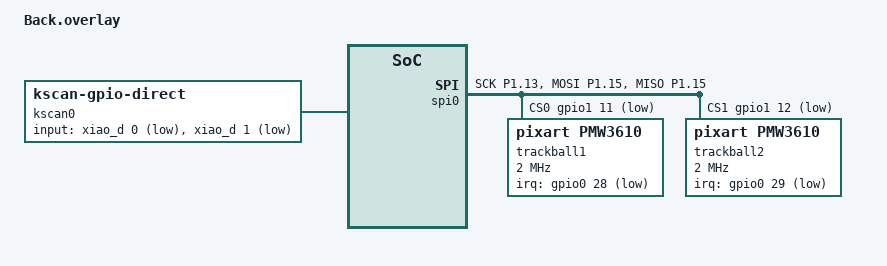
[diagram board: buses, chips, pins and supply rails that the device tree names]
#include <dt-bindings/zmk/matrix_transform.h> // included when matrix transform added
#include <physical_layouts.dtsi> // When using keys property include needed

// chosen node
/ {
    chosen {
        zmk,kscan = &kscan0;
        zmk,physical-layout = &physical_layout0;
    };
};

// physical layouts (key propretyあり)
/ {
    physical_layout0: physical_layout0 {
        compatible = "zmk,physical-layout";
        display-name = "Default Layout";
        transform = <&default_transform>;
        // chose nodeで設定しているからkscanいらない？ kscan = <&kscan0>;
        keys  //                     w   h    x    y     rot    rx    ry
            = <&key_physical_attrs 100 100    0   50       0     0     0>
            , <&key_physical_attrs 100 100  100   50       0     0     0>
            ;
    };
};

//matrix transoform
/ {
    default_transform: keymap_transform0 {
        compatible = "zmk,matrix-transform";
        columns = <1>;
        rows = <2>;
        map = <RC(0,0) RC(0,1)>;
    };
};

// kscan
/ {
    kscan0: kscan0 {
        compatible = "zmk,kscan-gpio-direct";
        wakeup-source;

        input-gpios
            = <&xiao_d 0 (GPIO_ACTIVE_LOW | GPIO_PULL_UP)>
            , <&xiao_d 1 (GPIO_ACTIVE_LOW | GPIO_PULL_UP)>
            ;
    };
};

//trackball
#include <zephyr/dt-bindings/input/input-event-codes.h>
#include <dt-bindings/zmk/input_transform.h>

&pinctrl {
    spi0_default: spi0_default {
        group1 {
            psels = <NRF_PSEL(SPIM_SCK, 1, 13)>,
                <NRF_PSEL(SPIM_MOSI, 1, 15)>,
                <NRF_PSEL(SPIM_MISO, 1, 15)>;
        };
    };

    spi0_sleep: spi0_sleep {
        group1 {
            psels = <NRF_PSEL(SPIM_SCK, 1, 13)>,
                <NRF_PSEL(SPIM_MOSI, 1, 15)>,
                <NRF_PSEL(SPIM_MISO, 1, 15)>;
            low-power-enable;
        };
    };
};

&spi0 {
    status = "okay";
    compatible = "nordic,nrf-spim";
    pinctrl-0 = <&spi0_default>;
    pinctrl-1 = <&spi0_sleep>;
    pinctrl-names = "default", "sleep";
    cs-gpios = <&gpio1 11 GPIO_ACTIVE_LOW>, <&gpio1 12 GPIO_ACTIVE_LOW>;

    trackball1: trackball@0 {
        status = "okay";
        compatible = "pixart,pmw3610";
        reg = <0>;
        spi-max-frequency = <2000000>;
        irq-gpios = <&gpio0 28 (GPIO_ACTIVE_LOW | GPIO_PULL_UP)>;
        cpi = <600>;
        evt-type = <INPUT_EV_REL>;
        x-input-code = <INPUT_REL_X>;
        y-input-code = <INPUT_REL_Y>;

        force-awake;
        /* keep the sensor awake while ZMK activity state is ACTIVE,
        fallback to normal downshift mode after ZMK goes into IDLE / SLEEP mode.
        thus, the sensor would be a `wakeup-source` */
    };
    trackball2: trackball@1 {
        status = "okay";
        compatible = "pixart,pmw3610";
        reg = <1>;
        spi-max-frequency = <2000000>;
        irq-gpios = <&gpio0 29 (GPIO_ACTIVE_LOW | GPIO_PULL_UP)>;
        cpi = <600>;
        evt-type = <INPUT_EV_REL>;
        x-input-code = <INPUT_REL_X>;
        y-input-code = <INPUT_REL_Y>;
    };
};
